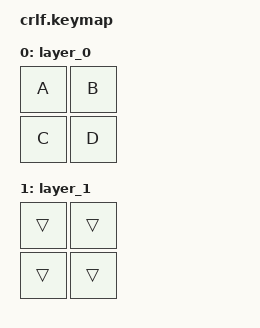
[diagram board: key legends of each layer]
/*
 * Hard .keymap corpus: CRLF line endings, preserved on a no-op Save.
 * Covers splice EOL (dominantEol / bindings interior).
 */

#include <behaviors.dtsi>
#include <dt-bindings/zmk/keys.h>

/ {
    keymap {
        compatible = "zmk,keymap";

        layer_0 {
            bindings = <
&kp A &kp B
&kp C &kp D
            >;
        };

        layer_1 {
            bindings = <
&trans &trans
&trans &trans
            >;
        };
    };
};
